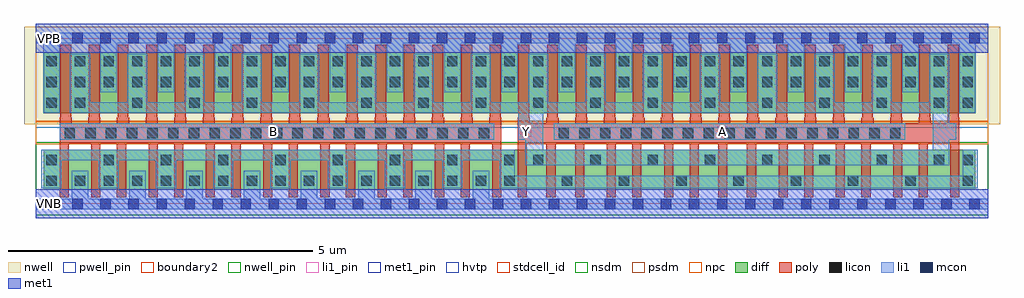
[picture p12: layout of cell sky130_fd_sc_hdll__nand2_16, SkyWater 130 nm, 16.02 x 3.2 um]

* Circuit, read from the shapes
.subckt sky130_fd_sc_hdll__nand2_16 A B VGND VNB VPB VPWR Y
XM1 VGND B n1 VNB sky130_fd_pr__nfet_01v8 w=0.65 l=0.15 m=16
XM2 Y A n1 VNB sky130_fd_pr__nfet_01v8 w=0.65 l=0.15 m=16
XM3 Y B VPWR VPB sky130_fd_pr__pfet_01v8_hvt w=1 l=0.18 m=16
XM4 Y A VPWR VPB sky130_fd_pr__pfet_01v8_hvt w=1 l=0.18 m=16
.ends

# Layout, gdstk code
import gdstk
lib = gdstk.Library(unit=1e-6, precision=1e-09)
def R(c, l, rs):  # rectangles x0, y0, x1, y1
    for r in rs: c.add(gdstk.rectangle(r[:2], r[2:], *l))
def A(c, l, x, y, w, h, nx, ny, dx, dy):  # array of equal rectangles
    R(c, l, [(x+i*dx, y+j*dy, x+i*dx+w, y+j*dy+h) for i in range(nx) for j in range(ny)])
def P(c, l, *ps):  # polygons
    for p in ps: c.add(gdstk.Polygon(p, *l))
nwell_pin = (64, 16)
nwell = (64, 20)
diff = (65, 20)
poly = (66, 20)
licon = (66, 44)
li1_pin = (67, 16)
li1 = (67, 20)
mcon = (67, 44)
met1_pin = (68, 16)
met1 = (68, 20)
hvtp = (78, 44)
stdcell_id = (81, 4)
nsdm = (93, 44)
psdm = (94, 20)
npc = (95, 20)
pwell_pin = (122, 16)
boundary2 = (236, 0)

sky130_fd_sc_hdll__nand2 = lib.new_cell('sky130_fd_sc_hdll__nand2_16')
R(sky130_fd_sc_hdll__nand2, nwell_pin, [(0.145,2.635,0.315,2.805)])
R(sky130_fd_sc_hdll__nand2, nwell, [(-0.19,1.305,15.83,2.91)])
R(sky130_fd_sc_hdll__nand2, diff, [(0.135,0.235,15.425,0.885), (0.135,1.485,15.425,2.485)])
P(sky130_fd_sc_hdll__nand2, poly, [(7.645,1.41),(7.635,1.41),(7.635,2.615),(7.455,2.615),(7.455,1.41),(7.445,1.41),(7.445,1.325),(7.175,1.325),(7.175,1.41),(7.165,1.41),(7.165,2.615),(6.985,2.615),(6.985,1.41),(6.975,1.41),(6.975,1.325),(6.705,1.325),(6.705,1.41),(6.695,1.41),(6.695,2.615),(6.515,2.615),(6.515,1.41),(6.505,1.41),(6.505,1.325),(6.235,1.325),(6.235,1.41),(6.225,1.41),(6.225,2.615),(6.045,2.615),(6.045,1.41),(6.035,1.41),(6.035,1.325),(5.765,1.325),(5.765,1.41),(5.755,1.41),(5.755,2.615),(5.575,2.615),(5.575,1.41),(5.565,1.41),(5.565,1.325),(5.295,1.325),(5.295,1.41),(5.285,1.41),(5.285,2.615),(5.105,2.615),(5.105,1.41),(5.095,1.41),(5.095,1.325),(4.825,1.325),(4.825,1.41),(4.815,1.41),(4.815,2.615),(4.635,2.615),(4.635,1.41),(4.625,1.41),(4.625,1.325),(4.355,1.325),(4.355,1.41),(4.345,1.41),(4.345,2.615),(4.165,2.615),(4.165,1.41),(4.155,1.41),(4.155,1.325),(3.885,1.325),(3.885,1.41),(3.875,1.41),(3.875,2.615),(3.695,2.615),(3.695,1.41),(3.685,1.41),(3.685,1.325),(3.415,1.325),(3.415,1.41),(3.405,1.41),(3.405,2.615),(3.225,2.615),(3.225,1.41),(3.215,1.41),(3.215,1.325),(2.945,1.325),(2.945,1.41),(2.935,1.41),(2.935,2.615),(2.755,2.615),(2.755,1.41),(2.745,1.41),(2.745,1.325),(2.475,1.325),(2.475,1.41),(2.465,1.41),(2.465,2.615),(2.285,2.615),(2.285,1.41),(2.275,1.41),(2.275,1.325),(2.005,1.325),(2.005,1.41),(1.995,1.41),(1.995,2.615),(1.815,2.615),(1.815,1.41),(1.805,1.41),(1.805,1.325),(1.535,1.325),(1.535,1.41),(1.525,1.41),(1.525,2.615),(1.345,2.615),(1.345,1.41),(1.335,1.41),(1.335,1.325),(1.065,1.325),(1.065,1.41),(1.055,1.41),(1.055,2.615),(0.875,2.615),(0.875,1.41),(0.865,1.41),(0.865,1.325),(0.595,1.325),(0.595,1.41),(0.585,1.41),(0.585,2.615),(0.405,2.615),(0.405,1.41),(0.395,1.41),(0.395,0.105),(0.545,0.105),(0.545,0.995),(0.915,0.995),(0.915,0.105),(1.065,0.105),(1.065,0.995),(1.335,0.995),(1.335,0.105),(1.485,0.105),(1.485,0.995),(1.855,0.995),(1.855,0.105),(2.005,0.105),(2.005,0.995),(2.275,0.995),(2.275,0.105),(2.425,0.105),(2.425,0.995),(2.795,0.995),(2.795,0.105),(2.945,0.105),(2.945,0.995),(3.215,0.995),(3.215,0.105),(3.365,0.105),(3.365,0.995),(3.735,0.995),(3.735,0.105),(3.885,0.105),(3.885,0.995),(4.155,0.995),(4.155,0.105),(4.305,0.105),(4.305,0.995),(4.675,0.995),(4.675,0.105),(4.825,0.105),(4.825,0.995),(5.095,0.995),(5.095,0.105),(5.245,0.105),(5.245,0.995),(5.615,0.995),(5.615,0.105),(5.765,0.105),(5.765,0.995),(6.035,0.995),(6.035,0.105),(6.185,0.105),(6.185,0.995),(6.555,0.995),(6.555,0.105),(6.705,0.105),(6.705,0.995),(6.975,0.995),(6.975,0.105),(7.125,0.105),(7.125,0.995),(7.495,0.995),(7.495,0.105),(7.645,0.105)],
  [(15.165,1.41),(15.155,1.41),(15.155,2.615),(14.975,2.615),(14.975,1.41),(14.965,1.41),(14.965,1.325),(14.695,1.325),(14.695,1.41),(14.685,1.41),(14.685,2.615),(14.505,2.615),(14.505,1.41),(14.495,1.41),(14.495,1.325),(14.225,1.325),(14.225,1.41),(14.215,1.41),(14.215,2.615),(14.035,2.615),(14.035,1.41),(14.025,1.41),(14.025,1.325),(13.755,1.325),(13.755,1.41),(13.745,1.41),(13.745,2.615),(13.565,2.615),(13.565,1.41),(13.555,1.41),(13.555,1.325),(13.285,1.325),(13.285,1.41),(13.275,1.41),(13.275,2.615),(13.095,2.615),(13.095,1.41),(13.085,1.41),(13.085,1.325),(12.815,1.325),(12.815,1.41),(12.805,1.41),(12.805,2.615),(12.625,2.615),(12.625,1.41),(12.615,1.41),(12.615,1.325),(12.345,1.325),(12.345,1.41),(12.335,1.41),(12.335,2.615),(12.155,2.615),(12.155,1.41),(12.145,1.41),(12.145,1.325),(11.875,1.325),(11.875,1.41),(11.865,1.41),(11.865,2.615),(11.685,2.615),(11.685,1.41),(11.675,1.41),(11.675,1.325),(11.405,1.325),(11.405,1.41),(11.395,1.41),(11.395,2.615),(11.215,2.615),(11.215,1.41),(11.205,1.41),(11.205,1.325),(10.935,1.325),(10.935,1.41),(10.925,1.41),(10.925,2.615),(10.745,2.615),(10.745,1.41),(10.735,1.41),(10.735,1.325),(10.465,1.325),(10.465,1.41),(10.455,1.41),(10.455,2.615),(10.275,2.615),(10.275,1.41),(10.265,1.41),(10.265,1.325),(9.995,1.325),(9.995,1.41),(9.985,1.41),(9.985,2.615),(9.805,2.615),(9.805,1.41),(9.795,1.41),(9.795,1.325),(9.525,1.325),(9.525,1.41),(9.515,1.41),(9.515,2.615),(9.335,2.615),(9.335,1.41),(9.325,1.41),(9.325,1.325),(9.055,1.325),(9.055,1.41),(9.045,1.41),(9.045,2.615),(8.865,2.615),(8.865,1.41),(8.855,1.41),(8.855,1.325),(8.585,1.325),(8.585,1.41),(8.575,1.41),(8.575,2.615),(8.395,2.615),(8.395,1.41),(8.385,1.41),(8.385,1.325),(8.115,1.325),(8.115,1.41),(8.105,1.41),(8.105,2.615),(7.925,2.615),(7.925,1.41),(7.915,1.41),(7.915,0.105),(8.065,0.105),(8.065,0.995),(8.385,0.995),(8.385,0.105),(8.535,0.105),(8.535,0.995),(8.855,0.995),(8.855,0.105),(9.005,0.105),(9.005,0.995),(9.375,0.995),(9.375,0.105),(9.525,0.105),(9.525,0.995),(9.795,0.995),(9.795,0.105),(9.945,0.105),(9.945,0.995),(10.315,0.995),(10.315,0.105),(10.465,0.105),(10.465,0.995),(10.735,0.995),(10.735,0.105),(10.885,0.105),(10.885,0.995),(11.205,0.995),(11.205,0.105),(11.355,0.105),(11.355,0.995),(11.675,0.995),(11.675,0.105),(11.825,0.105),(11.825,0.995),(12.195,0.995),(12.195,0.105),(12.345,0.105),(12.345,0.995),(12.615,0.995),(12.615,0.105),(12.765,0.105),(12.765,0.995),(13.135,0.995),(13.135,0.105),(13.285,0.105),(13.285,0.995),(13.555,0.995),(13.555,0.105),(13.705,0.105),(13.705,0.995),(14.075,0.995),(14.075,0.105),(14.225,0.105),(14.225,0.995),(14.495,0.995),(14.495,0.105),(14.645,0.105),(14.645,0.995),(15.015,0.995),(15.015,0.105),(15.165,0.105)])
A(sky130_fd_sc_hdll__nand2, licon, 0.175, 0.295, 0.17, 0.17, 17, 1, 0.47, 0)
A(sky130_fd_sc_hdll__nand2, licon, 8.635, 0.295, 0.17, 0.17, 8, 1, 0.94, 0)
A(sky130_fd_sc_hdll__nand2, licon, 0.175, 0.635, 0.17, 0.17, 9, 1, 0.94, 0)
A(sky130_fd_sc_hdll__nand2, licon, 8.165, 0.635, 0.17, 0.17, 8, 1, 0.94, 0)
A(sky130_fd_sc_hdll__nand2, licon, 0.475, 1.075, 0.17, 0.17, 21, 1, 0.34, 0)
A(sky130_fd_sc_hdll__nand2, licon, 8.585, 1.075, 0.17, 0.17, 17, 1, 0.34, 0)
A(sky130_fd_sc_hdll__nand2, licon, 0.645, 1.575, 0.17, 0.17, 16, 1, 0.94, 0)
A(sky130_fd_sc_hdll__nand2, licon, 0.175, 1.915, 0.17, 0.17, 33, 2, 0.47, 0.34)
R(sky130_fd_sc_hdll__nand2, licon, [(15.215,0.635,15.385,0.805), (0.175,1.575,0.345,1.745), (15.215,1.575,15.385,1.745)])
R(sky130_fd_sc_hdll__nand2, li1_pin, [(3.825,1.105,3.995,1.275), (7.965,1.105,8.135,1.275), (11.185,1.105,11.355,1.275)])
R(sky130_fd_sc_hdll__nand2, li1, [(0.395,1.055,7.525,1.325), (8.505,1.055,14.275,1.325)])
P(sky130_fd_sc_hdll__nand2, li1, [(15.115,1.325),(14.995,1.325),(14.995,2.465),(14.725,2.465),(14.725,0.885),(8.335,0.885),(8.335,1.495),(14.725,1.495),(14.725,2.465),(14.665,2.465),(14.665,1.665),(14.055,1.665),(14.055,2.465),(13.725,2.465),(13.725,1.665),(13.115,1.665),(13.115,2.465),(12.785,2.465),(12.785,1.665),(12.175,1.665),(12.175,2.465),(11.845,2.465),(11.845,1.665),(11.235,1.665),(11.235,2.465),(10.905,2.465),(10.905,1.665),(10.295,1.665),(10.295,2.465),(9.965,2.465),(9.965,1.665),(9.355,1.665),(9.355,2.465),(9.025,2.465),(9.025,1.665),(8.415,1.665),(8.415,2.465),(8.085,2.465),(8.085,1.665),(7.475,1.665),(7.475,2.465),(7.145,2.465),(7.145,1.665),(6.535,1.665),(6.535,2.465),(6.205,2.465),(6.205,1.665),(5.595,1.665),(5.595,2.465),(5.265,2.465),(5.265,1.665),(4.655,1.665),(4.655,2.465),(4.325,2.465),(4.325,1.665),(3.715,1.665),(3.715,2.465),(3.385,2.465),(3.385,1.665),(2.775,1.665),(2.775,2.465),(2.445,2.465),(2.445,1.665),(1.835,1.665),(1.835,2.465),(1.505,2.465),(1.505,1.665),(0.895,1.665),(0.895,2.465),(0.565,2.465),(0.565,1.495),(7.925,1.495),(7.925,1.055),(8.035,1.055),(8.035,0.635),(14.995,0.635),(14.995,1.055),(15.115,1.055)],
  [(15.465,0.885),(15.215,0.885),(15.215,0.465),(7.865,0.465),(7.865,0.885),(0.095,0.885),(0.095,0.255),(0.425,0.255),(0.425,0.715),(1.035,0.715),(1.035,0.255),(1.365,0.255),(1.365,0.715),(1.975,0.715),(1.975,0.255),(2.305,0.255),(2.305,0.715),(2.915,0.715),(2.915,0.255),(3.245,0.255),(3.245,0.715),(3.855,0.715),(3.855,0.255),(4.185,0.255),(4.185,0.715),(4.795,0.715),(4.795,0.255),(5.125,0.255),(5.125,0.715),(5.735,0.715),(5.735,0.255),(6.065,0.255),(6.065,0.715),(6.675,0.715),(6.675,0.255),(7.005,0.255),(7.005,0.715),(7.615,0.715),(7.615,0.255),(15.465,0.255)],
  [(15.64,2.805),(0,2.805),(0,2.635),(0.125,2.635),(0.125,1.495),(0.395,1.495),(0.395,2.635),(1.065,2.635),(1.065,1.835),(1.335,1.835),(1.335,2.635),(2.005,2.635),(2.005,1.835),(2.275,1.835),(2.275,2.635),(2.945,2.635),(2.945,1.835),(3.215,1.835),(3.215,2.635),(3.885,2.635),(3.885,1.835),(4.155,1.835),(4.155,2.635),(4.825,2.635),(4.825,1.835),(5.095,1.835),(5.095,2.635),(5.765,2.635),(5.765,1.835),(6.035,1.835),(6.035,2.635),(6.705,2.635),(6.705,1.835),(6.975,1.835),(6.975,2.635),(7.645,2.635),(7.645,1.835),(7.915,1.835),(7.915,2.635),(8.585,2.635),(8.585,1.835),(8.855,1.835),(8.855,2.635),(9.525,2.635),(9.525,1.835),(9.795,1.835),(9.795,2.635),(10.465,2.635),(10.465,1.835),(10.735,1.835),(10.735,2.635),(11.405,2.635),(11.405,1.835),(11.675,1.835),(11.675,2.635),(12.345,2.635),(12.345,1.835),(12.615,1.835),(12.615,2.635),(13.285,2.635),(13.285,1.835),(13.555,1.835),(13.555,2.635),(14.225,2.635),(14.225,1.835),(14.495,1.835),(14.495,2.635),(15.165,2.635),(15.165,1.495),(15.435,1.495),(15.435,2.635),(15.64,2.635)],
  [(15.64,0.085),(7.445,0.085),(7.445,0.545),(7.175,0.545),(7.175,0.085),(6.505,0.085),(6.505,0.545),(6.235,0.545),(6.235,0.085),(5.565,0.085),(5.565,0.545),(5.295,0.545),(5.295,0.085),(4.625,0.085),(4.625,0.545),(4.355,0.545),(4.355,0.085),(3.685,0.085),(3.685,0.545),(3.415,0.545),(3.415,0.085),(2.745,0.085),(2.745,0.545),(2.475,0.545),(2.475,0.085),(1.805,0.085),(1.805,0.545),(1.535,0.545),(1.535,0.085),(0.865,0.085),(0.865,0.545),(0.595,0.545),(0.595,0.085),(0,0.085),(0,-0.085),(15.64,-0.085)])
A(sky130_fd_sc_hdll__nand2, mcon, 0.145, -0.085, 0.17, 0.17, 34, 2, 0.46, 2.72)
R(sky130_fd_sc_hdll__nand2, met1_pin, [(0.145,-0.085,0.315,0.085), (0.145,2.635,0.315,2.805)])
R(sky130_fd_sc_hdll__nand2, met1, [(0,-0.24,15.64,0.24), (0,2.48,15.64,2.96)])
R(sky130_fd_sc_hdll__nand2, hvtp, [(0,1.25,15.64,2.72)])
R(sky130_fd_sc_hdll__nand2, stdcell_id, [(0,0,15.64,2.72)])
R(sky130_fd_sc_hdll__nand2, nsdm, [(0,-0.19,15.64,1.015)])
R(sky130_fd_sc_hdll__nand2, psdm, [(0,1.355,15.64,2.91)])
R(sky130_fd_sc_hdll__nand2, npc, [(0,0.975,15.64,1.345)])
R(sky130_fd_sc_hdll__nand2, pwell_pin, [(0.145,-0.085,0.315,0.085)])
R(sky130_fd_sc_hdll__nand2, boundary2, [(0,0,15.64,2.72)])
sky130_fd_sc_hdll__nand2.add(gdstk.Label('Y', (8.05,1.19), layer=67, texttype=5))
sky130_fd_sc_hdll__nand2.add(gdstk.Label('A', (11.27,1.19), layer=67, texttype=5))
sky130_fd_sc_hdll__nand2.add(gdstk.Label('B', (3.91,1.19), layer=67, texttype=5))
sky130_fd_sc_hdll__nand2.add(gdstk.Label('VPB', (0.23,2.72), layer=64, texttype=5))
sky130_fd_sc_hdll__nand2.add(gdstk.Label('VNB', (0.23,0), layer=64, texttype=59))
sky130_fd_sc_hdll__nand2.add(gdstk.Label('VGND', (0.23,0), layer=68, texttype=5))
sky130_fd_sc_hdll__nand2.add(gdstk.Label('VPWR', (0.23,2.72), layer=68, texttype=5))
sky130_fd_sc_hdll__nand2.add(gdstk.Label('nand2_16', (0,0), layer=83, texttype=44))

lib.write_gds('sky130_fd_sc_hdll__nand2_16.gds')
